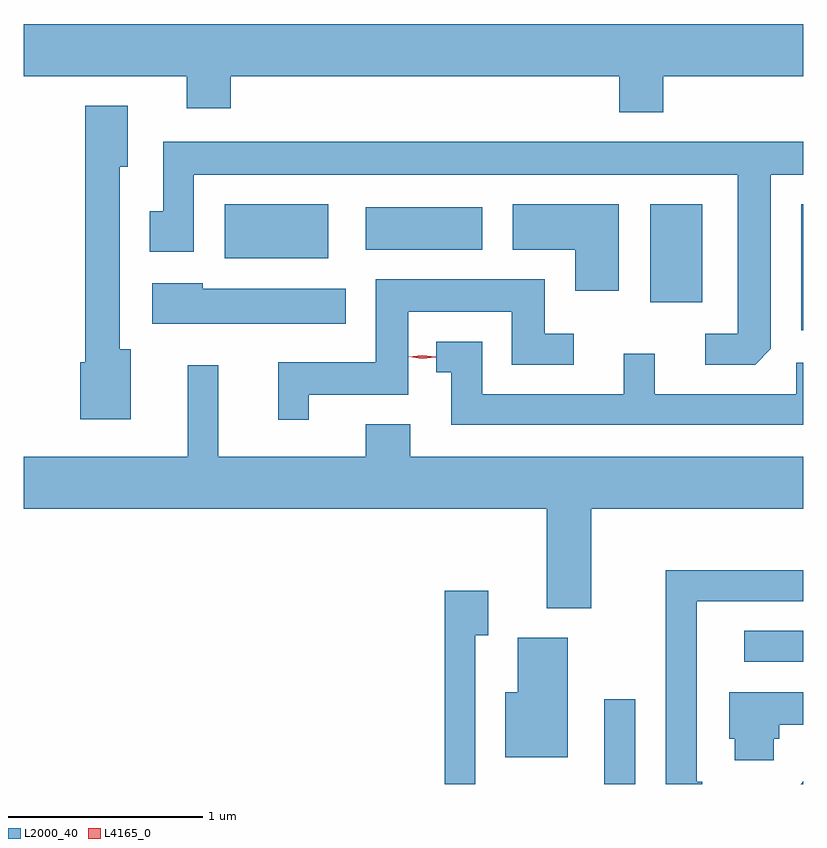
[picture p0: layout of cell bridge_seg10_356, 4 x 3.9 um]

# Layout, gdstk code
import gdstk
lib = gdstk.Library(unit=1e-6, precision=1e-09)
def R(c, l, rs):  # rectangles x0, y0, x1, y1
    for r in rs: c.add(gdstk.rectangle(r[:2], r[2:], *l))
def P(c, l, *ps):  # polygons
    for p in ps: c.add(gdstk.Polygon(p, *l))
L2000_40 = (2000, 40)
L4165_0 = (4165, 0)

bridge_seg10_356 = lib.new_cell('bridge_seg10_356')
R(bridge_seg10_356, L2000_40, [(1062.666,2094.743,1062.824,2095.178), (1063.383,2095.371,1063.686,2095.529), (1063.676,2097.071,1063.686,2097.719), (1062.901,2097.216,1063.169,2097.719), (1060.716,2097.441,1061.249,2097.719), (1061.441,2097.486,1062.039,2097.704)])
P(bridge_seg10_356, L2000_40, [(1062.969,2098.376),(1063.686,2098.376),(1063.686,2098.644),(1059.686,2098.644),(1059.686,2098.376),(1060.521,2098.376),(1060.521,2098.211),(1060.749,2098.211),(1060.749,2098.376),(1062.741,2098.376),(1062.741,2098.191),(1062.969,2098.191)],
  [(1060.234,2096.974),(1060.179,2096.974),(1060.179,2097.911),(1060.219,2097.911),(1060.219,2098.224),(1060.001,2098.224),(1060.001,2096.909),(1059.976,2096.909),(1059.976,2096.616),(1060.234,2096.616)],
  [(1063.519,2096.977),(1063.519,2097.871),(1063.686,2097.871),(1063.686,2098.039),(1060.401,2098.039),(1060.401,2097.684),(1060.331,2097.684),(1060.331,2097.476),(1060.559,2097.476),(1060.559,2097.871),(1063.351,2097.871),(1063.351,2097.054),(1063.183,2097.054),(1063.183,2096.896),(1063.439,2096.896)],
  [(1062.739,2097.719),(1062.196,2097.719),(1062.196,2097.486),(1062.516,2097.486),(1062.516,2097.276),(1062.739,2097.276)],
  [(1061.149,2096.741),(1061.659,2096.741),(1061.659,2097.166),(1062.191,2097.166),(1062.191,2096.896),(1062.508,2096.896),(1062.508,2097.054),(1062.359,2097.054),(1062.359,2097.334),(1061.491,2097.334),(1061.491,2096.909),(1060.991,2096.909),(1060.991,2096.613),(1061.149,2096.613)],
  [(1061.339,2097.284),(1060.604,2097.284),(1060.604,2097.314),(1060.346,2097.314),(1060.346,2097.106),(1061.339,2097.106)],
  [(1063.686,2096.904),(1063.651,2096.904),(1063.651,2096.744),(1062.924,2096.744),(1062.924,2096.952),(1062.766,2096.952),(1062.766,2096.744),(1062.039,2096.744),(1062.039,2097.014),(1061.803,2097.014),(1061.803,2096.856),(1061.881,2096.856),(1061.881,2096.586),(1063.686,2096.586)],
  [(1062.599,2096.156),(1063.686,2096.156),(1063.686,2096.424),(1061.669,2096.424),(1061.669,2096.589),(1061.441,2096.589),(1061.441,2096.424),(1060.684,2096.424),(1060.684,2096.893),(1060.526,2096.893),(1060.526,2096.424),(1059.686,2096.424),(1059.686,2096.156),(1062.371,2096.156),(1062.371,2095.646),(1062.599,2095.646)],
  [(1063.169,2094.754),(1063.139,2094.754),(1063.139,2095.681),(1063.686,2095.681),(1063.686,2095.839),(1062.981,2095.839),(1062.981,2094.743),(1063.169,2094.743)],
  [(1062.004,2095.506),(1062.069,2095.506),(1062.069,2095.734),(1061.846,2095.734),(1061.846,2094.743),(1062.004,2094.743)],
  [(1062.479,2095.494),(1062.221,2095.494),(1062.221,2095.214),(1062.156,2095.214),(1062.156,2094.881),(1062.479,2094.881)],
  [(1063.534,2094.976),(1063.564,2094.976),(1063.564,2095.046),(1063.686,2095.046),(1063.686,2095.214),(1063.306,2095.214),(1063.306,2094.976),(1063.336,2094.976),(1063.336,2094.866),(1063.534,2094.866)],
  [(1063.686,2094.756),(1063.673,2094.743),(1063.686,2094.743)])
P(bridge_seg10_356, L4165_0, [(1061.732,2096.925),(1061.662,2096.935),(1061.662,2096.935),(1061.662,2096.936),(1061.732,2096.945),(1061.801,2096.935),(1061.801,2096.935),(1061.801,2096.934)])

lib.write_gds('bridge_seg10_356.gds')
